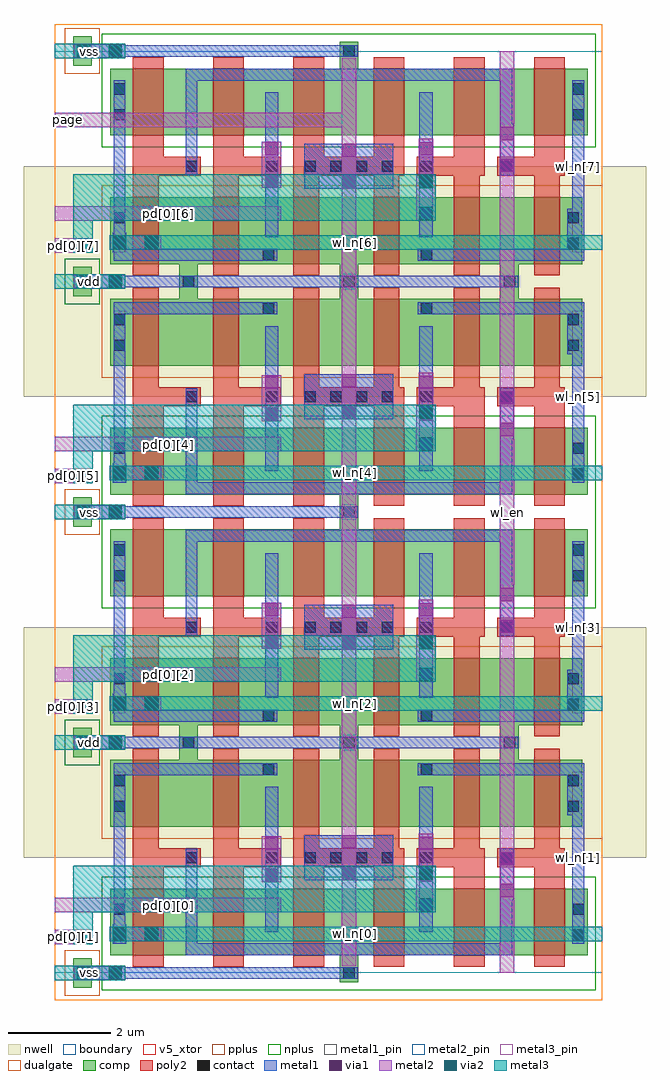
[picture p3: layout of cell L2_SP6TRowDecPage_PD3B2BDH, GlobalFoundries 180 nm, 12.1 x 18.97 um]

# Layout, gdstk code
import gdstk
lib = gdstk.Library(unit=1e-6, precision=1e-09)
def R(c, l, rs):  # rectangles x0, y0, x1, y1
    for r in rs: c.add(gdstk.rectangle(r[:2], r[2:], *l))
def A(c, l, x, y, w, h, nx, ny, dx, dy):  # array of equal rectangles
    R(c, l, [(x+i*dx, y+j*dy, x+i*dx+w, y+j*dy+h) for i in range(nx) for j in range(ny)])
def P(c, l, *ps):  # polygons
    for p in ps: c.add(gdstk.Polygon(p, *l))
boundary = (0, 0)
nwell = (21, 0)
comp = (22, 0)
poly2 = (30, 0)
pplus = (31, 0)
nplus = (32, 0)
contact = (33, 0)
metal1 = (34, 0)
metal1_pin = (34, 10)
via1 = (35, 0)
metal2 = (36, 0)
metal2_pin = (36, 10)
via2 = (38, 0)
metal3 = (42, 0)
metal3_pin = (42, 10)
dualgate = (55, 0)
v5_xtor = (112, 1)

l2_sp6trowdecodernand3x2 = lib.new_cell('L2_SP6TRowDecoderNand3X2')
R(l2_sp6trowdecodernand3x2, boundary, [(0,0,10.64,4.48)])
R(l2_sp6trowdecodernand3x2, nwell, [(-0.6,2.24,11.5,5.365)])
A(l2_sp6trowdecodernand3x2, comp, 2.42, 2.84, 0.36, 1.82, 3, 1, 3.12, 0)
A(l2_sp6trowdecodernand3x2, comp, 2.42, 4.3, 0.36, 0.36, 3, 1, 3.12, 0)
R(l2_sp6trowdecodernand3x2, comp, [(0.36,-0.285,0.72,0.285), (5.54,-0.18,5.9,1.64), (5.54,-0.18,5.9,0.18), (1.08,0.34,10.36,1.64), (1.08,2.84,10.26,4.14), (0.36,4.195,0.72,4.765)])
P(l2_sp6trowdecodernand3x2, poly2, [(4.64,0.12),(4.64,4.36),(5.14,4.36),(5.14,2.42),(6.2,2.42),(6.2,4.36),(6.7,4.36),(6.7,2.42),(6.8,2.42),(6.8,0.12),(6.2,0.12),(6.2,2.06),(5.24,2.06),(5.24,0.12)],
  [(7.76,0.12),(7.76,2.06),(7.04,2.06),(7.04,2.42),(7.76,2.42),(7.76,4.36),(8.26,4.36),(8.26,2.42),(8.36,2.42),(8.36,0.12)],
  [(9.32,0.12),(9.32,2.06),(8.6,2.06),(8.6,2.42),(9.32,2.42),(9.32,4.36),(9.82,4.36),(9.82,2.42),(9.92,2.42),(9.92,0.12)],
  [(1.52,0.12),(1.52,4.36),(2.02,4.36),(2.02,2.42),(2.84,2.42),(2.84,2.06),(2.12,2.06),(2.12,0.12)],
  [(3.08,0.12),(3.08,4.36),(3.58,4.36),(3.58,2.42),(4.4,2.42),(4.4,2.06),(3.68,2.06),(3.68,0.12)])
R(l2_sp6trowdecodernand3x2, pplus, [(0.2,-0.445,0.88,0.445), (0.92,2.61,10.64,4.82)])
R(l2_sp6trowdecodernand3x2, nplus, [(0.92,-0.34,10.52,1.87), (0.2,4.035,0.88,4.925)])
A(l2_sp6trowdecodernand3x2, contact, 4.86, 2.13, 0.22, 0.22, 4, 1, 0.5, 0)
A(l2_sp6trowdecodernand3x2, contact, 2.49, 4.37, 0.22, 0.22, 3, 1, 3.12, 0)
R(l2_sp6trowdecodernand3x2, contact, [(0.43,-0.11,0.65,0.11), (5.61,-0.11,5.83,0.11), (1.15,0.63,1.37,0.85), (10.07,0.63,10.29,0.85), (1.15,1.13,1.37,1.35), (10.07,1.13,10.29,1.35), (2.55,2.13,2.77,2.35), (4.11,2.13,4.33,2.35), (7.11,2.13,7.33,2.35), (8.67,2.13,8.89,2.35), (1.15,3.13,1.37,3.35), (9.97,3.13,10.19,3.35), (1.15,3.63,1.37,3.85), (9.97,3.63,10.19,3.85), (4.05,3.85,4.27,4.07), (7.12,3.85,7.34,4.07), (0.43,4.37,0.65,4.59)])
R(l2_sp6trowdecodernand3x2, metal1, [(4.09,0.805,4.35,3.615), (7.09,0.805,7.35,3.615), (4.855,1.8,6.585,2.68)])
P(l2_sp6trowdecodernand3x2, metal1, [(10.065,0.57),(10.065,3.07),(9.965,3.07),(9.965,3.845),(7.06,3.845),(7.06,4.075),(10.295,4.075),(10.295,0.57)],
  [(2.545,0.345),(2.545,2.41),(2.775,2.41),(2.775,0.575),(8.665,0.575),(8.665,2.41),(8.925,2.41),(8.925,1.41),(8.895,1.41),(8.895,0.345)],
  [(1.145,0.57),(1.145,4.075),(4.33,4.075),(4.33,3.845),(1.375,3.845),(1.375,0.57)],
  [(0.37,4.35),(0.37,4.61),(1.37,4.61),(1.37,4.595),(9.01,4.595),(9.01,4.365),(1.37,4.365),(1.37,4.35)],
  [(0.37,-0.13),(0.37,0.13),(1.37,0.13),(1.37,0.115),(5.89,0.115),(5.89,-0.115),(1.37,-0.115),(1.37,-0.13)])
R(l2_sp6trowdecodernand3x2, metal1_pin, [(1.145,0.57,1.375,3.91), (10.065,0.57,10.295,3.91), (4.09,0.805,4.35,3.615), (7.09,0.805,7.35,3.615)])
R(l2_sp6trowdecodernand3x2, via1, [(0.43,-0.13,0.69,0.13), (1.05,-0.13,1.31,0.13), (8.665,1.47,8.925,1.73), (5.59,1.8,5.85,2.06), (8.665,2.09,8.925,2.35), (5.59,2.42,5.85,2.68), (0.43,4.35,0.69,4.61), (1.05,4.35,1.31,4.61)])
R(l2_sp6trowdecodernand3x2, metal2, [(0.37,-0.14,1.37,0.14), (8.655,0,8.935,4.48), (5.58,0.14,5.86,4.34), (0.37,4.34,1.37,4.62)])
R(l2_sp6trowdecodernand3x2, metal2_pin, [(8.655,0,8.935,4.48), (5.58,0.14,5.86,4.34)])
R(l2_sp6trowdecodernand3x2, via2, [(0.43,-0.13,0.69,0.13), (1.05,-0.13,1.31,0.13), (0.43,4.35,0.69,4.61), (1.05,4.35,1.31,4.61)])
R(l2_sp6trowdecodernand3x2, metal3, [(0.37,-0.14,1.37,0.14), (0.37,4.34,1.37,4.62)])
R(l2_sp6trowdecodernand3x2, metal3_pin, [(0.37,-0.14,1.37,0.14), (0.37,4.34,1.37,4.62)])
R(l2_sp6trowdecodernand3x2, dualgate, [(0,-0.525,10.64,5.005)])
A(l2_sp6trowdecodernand3x2, v5_xtor, 1.515, 0.335, 0.61, 1.31, 6, 1, 1.56, 0)
A(l2_sp6trowdecodernand3x2, v5_xtor, 1.515, 2.835, 0.51, 1.31, 6, 1, 1.56, 0)
l2_sp6trowdecodernand3x2.add(gdstk.Label('wl_n[1]', (10.18,2.24), layer=34, texttype=10))
l2_sp6trowdecodernand3x2.add(gdstk.Label('pd[0][1]', (7.22,2.21), layer=34, texttype=10))
l2_sp6trowdecodernand3x2.add(gdstk.Label('pd[0][0]', (4.22,2.21), layer=34, texttype=10))
l2_sp6trowdecodernand3x2.add(gdstk.Label('wl_n[0]', (1.26,2.24), layer=34, texttype=10))
l2_sp6trowdecodernand3x2.add(gdstk.Label('vdd', (0.87,4.48), layer=42, texttype=10))
l2_sp6trowdecodernand3x2.add(gdstk.Label('vss', (0.87,0), layer=42, texttype=10))
l2_sp6trowdecodernand3x2.add(gdstk.Label('page', (5.72,2.24), layer=36, texttype=10))
l2_sp6trowdecodernand3x2.add(gdstk.Label('wl_en', (8.795,2.24), layer=36, texttype=10))

l2_sp6trowdecpage_pd3b2b = lib.new_cell('L2_SP6TRowDecPage_PD3B2BDH')
R(l2_sp6trowdecpage_pd3b2b, boundary, [(0,0,10.64,17.92)])
A(l2_sp6trowdecpage_pd3b2b, metal1, 1.13, 0.57, 0.26, 0.38, 1, 4, 0, 4.48)
A(l2_sp6trowdecpage_pd3b2b, metal1, 10.065, 0.57, 0.23, 3.34, 1, 4, 0, 4.48)
R(l2_sp6trowdecpage_pd3b2b, metal1, [(4.09,1.71,4.35,2.71), (7.09,1.71,7.35,2.71), (4.09,6.25,4.35,7.25), (7.09,6.25,7.35,7.25), (4.09,10.67,4.35,11.67), (7.09,10.67,7.35,11.67), (4.09,15.21,4.35,16.21), (7.09,15.21,7.35,16.21)])
A(l2_sp6trowdecpage_pd3b2b, metal1_pin, 10.065, 0.57, 0.23, 3.34, 1, 4, 0, 4.48)
A(l2_sp6trowdecpage_pd3b2b, via1, 1.13, 0.63, 0.26, 0.26, 1, 4, 0, 4.48)
R(l2_sp6trowdecpage_pd3b2b, via1, [(4.09,1.77,4.35,2.03), (7.09,1.77,7.35,2.03), (4.09,2.39,4.35,2.65), (7.09,2.39,7.35,2.65), (4.09,6.31,4.35,6.57), (7.09,6.31,7.35,6.57), (4.09,6.93,4.35,7.19), (7.09,6.93,7.35,7.19), (4.09,10.73,4.35,10.99), (7.09,10.73,7.35,10.99), (4.09,11.35,4.35,11.61), (7.09,11.35,7.35,11.61), (4.09,15.27,4.35,15.53), (7.09,15.27,7.35,15.53), (4.09,15.89,4.35,16.15), (7.09,15.89,7.35,16.15)])
A(l2_sp6trowdecpage_pd3b2b, metal2, 0, 0.56, 0.74, 0.28, 1, 4, 0, 4.48)
A(l2_sp6trowdecpage_pd3b2b, metal2, 1.07, 0.62, 1, 0.28, 1, 4, 0, 4.48)
A(l2_sp6trowdecpage_pd3b2b, metal2, 0, 1.18, 4.41, 0.28, 1, 4, 0, 4.48)
R(l2_sp6trowdecpage_pd3b2b, metal2, [(8.655,0,8.935,17.92), (4.03,1.76,4.41,2.66), (4.03,6.3,4.41,7.2), (4.03,10.72,4.41,11.62), (4.03,15.26,4.41,16.16)])
P(l2_sp6trowdecpage_pd3b2b, metal2, [(5.58,2.24),(5.58,16.44),(0,16.44),(0,16.72),(5.86,16.72),(5.86,2.24)],
  [(7.03,5.66),(7.03,6.56),(7.08,6.56),(7.08,7.25),(7.36,7.25),(7.36,6.56),(7.41,6.56),(7.41,5.66)],
  [(7.03,14.62),(7.03,15.52),(7.08,15.52),(7.08,16.21),(7.36,16.21),(7.36,15.52),(7.41,15.52),(7.41,14.62)],
  [(7.03,1.18),(7.03,2.08),(7.08,2.08),(7.08,2.71),(7.36,2.71),(7.36,2.08),(7.41,2.08),(7.41,1.18)],
  [(7.03,10.14),(7.03,11.04),(7.08,11.04),(7.08,11.67),(7.36,11.67),(7.36,11.04),(7.41,11.04),(7.41,10.14)])
A(l2_sp6trowdecpage_pd3b2b, metal2_pin, 0, 0.56, 0.74, 0.28, 1, 4, 0, 4.48)
A(l2_sp6trowdecpage_pd3b2b, metal2_pin, 0, 1.18, 4.41, 0.28, 1, 4, 0, 4.48)
R(l2_sp6trowdecpage_pd3b2b, metal2_pin, [(8.655,0,8.935,17.92), (0,16.44,0.52,16.72)])
A(l2_sp6trowdecpage_pd3b2b, via2, 0.42, 0.57, 0.26, 0.26, 1, 4, 0, 4.48)
A(l2_sp6trowdecpage_pd3b2b, via2, 1.13, 0.63, 0.26, 0.26, 1, 4, 0, 4.48)
A(l2_sp6trowdecpage_pd3b2b, via2, 1.75, 0.63, 0.26, 0.26, 1, 4, 0, 4.48)
R(l2_sp6trowdecpage_pd3b2b, via2, [(7.09,1.19,7.35,1.45), (7.09,1.81,7.35,2.07), (7.09,5.67,7.35,5.93), (7.09,6.29,7.35,6.55), (7.09,10.15,7.35,10.41), (7.09,10.77,7.35,11.03), (7.09,14.63,7.35,14.89), (7.09,15.25,7.35,15.51)])
A(l2_sp6trowdecpage_pd3b2b, metal3, 0, -0.14, 1.37, 0.28, 1, 5, 0, 4.48)
A(l2_sp6trowdecpage_pd3b2b, metal3, 1.07, 0.62, 9.57, 0.28, 1, 4, 0, 4.48)
P(l2_sp6trowdecpage_pd3b2b, metal3, [(0.36,0.56),(0.36,2.08),(7.41,2.08),(7.41,1.18),(0.74,1.18),(0.74,0.56)],
  [(0.36,5.04),(0.36,6.56),(7.41,6.56),(7.41,5.66),(0.74,5.66),(0.74,5.04)],
  [(0.36,9.52),(0.36,11.04),(7.41,11.04),(7.41,10.14),(0.74,10.14),(0.74,9.52)],
  [(0.36,14),(0.36,15.52),(7.41,15.52),(7.41,14.62),(0.74,14.62),(0.74,14)])
A(l2_sp6trowdecpage_pd3b2b, metal3_pin, 0, -0.14, 1.37, 0.28, 1, 5, 0, 4.48)
A(l2_sp6trowdecpage_pd3b2b, metal3_pin, 1.07, 0.62, 9.57, 0.28, 1, 4, 0, 4.48)
l2_sp6trowdecpage_pd3b2b.add(gdstk.Reference(l2_sp6trowdecodernand3x2, (0,8.96), x_reflection=True))
l2_sp6trowdecpage_pd3b2b.add(gdstk.Reference(l2_sp6trowdecodernand3x2, (0,17.92), x_reflection=True))
l2_sp6trowdecpage_pd3b2b.add(gdstk.Reference(l2_sp6trowdecodernand3x2, (0,0)))
l2_sp6trowdecpage_pd3b2b.add(gdstk.Reference(l2_sp6trowdecodernand3x2, (0,8.96)))
l2_sp6trowdecpage_pd3b2b.add(gdstk.Label('wl_n[7]', (10.18,15.68), layer=34, texttype=10))
l2_sp6trowdecpage_pd3b2b.add(gdstk.Label('wl_n[5]', (10.18,11.2), layer=34, texttype=10))
l2_sp6trowdecpage_pd3b2b.add(gdstk.Label('wl_n[3]', (10.18,6.72), layer=34, texttype=10))
l2_sp6trowdecpage_pd3b2b.add(gdstk.Label('wl_n[1]', (10.18,2.24), layer=34, texttype=10))
l2_sp6trowdecpage_pd3b2b.add(gdstk.Label('vdd', (0.685,4.48), layer=42, texttype=10))
l2_sp6trowdecpage_pd3b2b.add(gdstk.Label('vdd', (0.685,13.44), layer=42, texttype=10))
l2_sp6trowdecpage_pd3b2b.add(gdstk.Label('vss', (0.685,0), layer=42, texttype=10))
l2_sp6trowdecpage_pd3b2b.add(gdstk.Label('vss', (0.685,8.96), layer=42, texttype=10))
l2_sp6trowdecpage_pd3b2b.add(gdstk.Label('vss', (0.685,17.92), layer=42, texttype=10))
l2_sp6trowdecpage_pd3b2b.add(gdstk.Label('wl_n[6]', (5.855,14.2), layer=42, texttype=10))
l2_sp6trowdecpage_pd3b2b.add(gdstk.Label('wl_n[2]', (5.855,5.24), layer=42, texttype=10))
l2_sp6trowdecpage_pd3b2b.add(gdstk.Label('wl_n[4]', (5.855,9.72), layer=42, texttype=10))
l2_sp6trowdecpage_pd3b2b.add(gdstk.Label('wl_n[0]', (5.855,0.76), layer=42, texttype=10))
l2_sp6trowdecpage_pd3b2b.add(gdstk.Label('wl_en', (8.795,8.96), layer=36, texttype=10))
l2_sp6trowdecpage_pd3b2b.add(gdstk.Label('pd[0][6]', (2.205,14.76), layer=36, texttype=10))
l2_sp6trowdecpage_pd3b2b.add(gdstk.Label('pd[0][5]', (0.37,9.66), layer=36, texttype=10))
l2_sp6trowdecpage_pd3b2b.add(gdstk.Label('pd[0][4]', (2.205,10.28), layer=36, texttype=10))
l2_sp6trowdecpage_pd3b2b.add(gdstk.Label('page', (0.26,16.58), layer=36, texttype=10))
l2_sp6trowdecpage_pd3b2b.add(gdstk.Label('pd[0][3]', (0.37,5.18), layer=36, texttype=10))
l2_sp6trowdecpage_pd3b2b.add(gdstk.Label('pd[0][7]', (0.37,14.14), layer=36, texttype=10))
l2_sp6trowdecpage_pd3b2b.add(gdstk.Label('pd[0][2]', (2.205,5.8), layer=36, texttype=10))
l2_sp6trowdecpage_pd3b2b.add(gdstk.Label('pd[0][1]', (0.37,0.7), layer=36, texttype=10))
l2_sp6trowdecpage_pd3b2b.add(gdstk.Label('pd[0][0]', (2.205,1.32), layer=36, texttype=10))

lib.write_gds('L2_SP6TRowDecPage_PD3B2BDH.gds')
